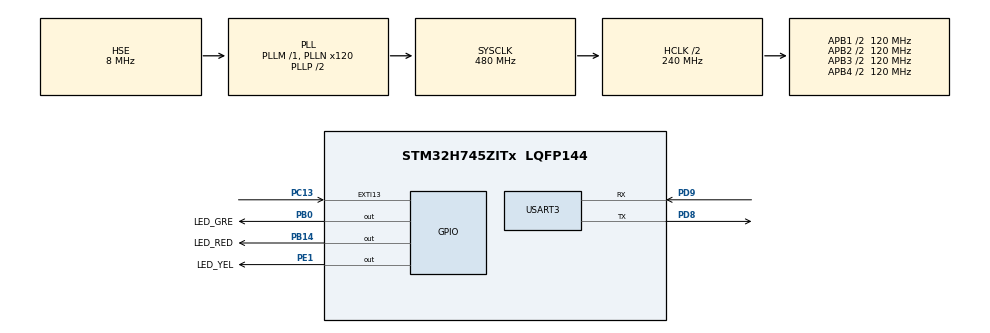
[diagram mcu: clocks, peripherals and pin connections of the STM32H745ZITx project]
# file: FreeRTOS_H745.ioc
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CORTEX_M7.CPU_DCache=Enabled
CORTEX_M7.CPU_ICache=Enabled
CORTEX_M7.default_mode_Activation=1
CortexM4.IPs=BDMA,CORTEX_M4\:I,DMA,FATFS_M4\:I,FREERTOS_M4\:I,GPIO,IWDG2\:I,MDMA,NVIC2\:I,OPENAMP_M4\:I,PDM2PCM_M4\:I,PWR,RCC,RESMGR_UTILITY,SYS_M4\:I,USB_DEVICE_M4\:I,USB_HOST_M4\:I,VREFBUF,WWDG2\:I,DEBUG
CortexM7.IPs=BDMA\:I,CORTEX_M7\:I,DMA\:I,FATFS_M7\:I,FREERTOS_M7\:I,GPIO\:I,IWDG1\:I,MDMA\:I,NVIC1\:I,OPENAMP_M7\:I,PDM2PCM_M7\:I,PWR\:I,RCC\:I,RESMGR_UTILITY\:I,SYS\:I,USB_DEVICE_M7\:I,USB_HOST_M7\:I,VREFBUF\:I,WWDG1\:I,MEMORYMAP\:I,TIM17\:I,DEBUG\:I,USART3\:I
CortexM7.Pins=PC13,PB0,PB14,PE1
Mcu.Family=STM32H7
Mcu.Name=STM32H745ZITx
Mcu.Package=LQFP144
NVIC1.EXTI15_10_IRQn=true\:7\:0\:true\:false\:true\:true\:true\:true
NVIC1.PriorityGroup=NVIC_PRIORITYGROUP_4
NVIC1.TIM17_IRQn=true\:5\:0\:true\:false\:true\:false\:true\:true
NVIC1.TimeBase=TIM17_IRQn
NVIC1.TimeBaseIP=TIM17
NVIC2.PriorityGroup=NVIC_PRIORITYGROUP_4
PA13\ (JTMS/SWDIO).Mode=Serial_Wire
PA13\ (JTMS/SWDIO).PinAttribute=CortexM7
PA13\ (JTMS/SWDIO).Signal=DEBUG_JTMS-SWDIO
PA14\ (JTCK/SWCLK).Mode=Serial_Wire
PA14\ (JTCK/SWCLK).PinAttribute=CortexM7
PA14\ (JTCK/SWCLK).Signal=DEBUG_JTCK-SWCLK
PB0.GPIO_Label=LED_GRE
PB0.PinAttribute=CortexM7
PB0.Signal=GPIO_Output
PB14.GPIO_Label=LED_RED
PB14.PinAttribute=CortexM7
PB14.Signal=GPIO_Output
PC13.GPIO_ModeDefaultEXTI=GPIO_MODE_IT_RISING
PC13.PinAttribute=CortexM7
PC13.Signal=GPXTI13
PD8.Mode=Asynchronous
PD8.PinAttribute=CortexM7
PD8.Signal=USART3_TX
PD9.Mode=Asynchronous
PD9.PinAttribute=CortexM7
PD9.Signal=USART3_RX
PE1.GPIO_Label=LED_YEL
PE1.PinAttribute=CortexM7
PE1.Signal=GPIO_Output
PH0-OSC_IN\ (PH0).Mode=HSE-External-Clock-Source
PH0-OSC_IN\ (PH0).PinAttribute=Free
PH0-OSC_IN\ (PH0).Signal=RCC_OSC_IN
ProjectManager.HeapSize=M4-0x200,M7-0x200
ProjectManager.StackSize=M4-0x400,M7-0x400
ProjectManager.TargetToolchain=STM32CubeIDE
RCC.ADCFreq_Value=16125000
RCC.APB1Freq_Value=120000000
RCC.APB2Freq_Value=120000000
RCC.APB3Freq_Value=120000000
RCC.APB4Freq_Value=120000000
RCC.CortexFreq_Value=480000000
RCC.D1PPRE=RCC_APB3_DIV2
RCC.D2PPRE1=RCC_APB1_DIV2
RCC.D2PPRE2=RCC_APB2_DIV2
RCC.D3PPRE=RCC_APB4_DIV2
RCC.DIVM1=1
RCC.DIVN1=120
RCC.HCLKFreq_Value=240000000
RCC.HPRE=RCC_HCLK_DIV2
RCC.HSE_VALUE=8000000
RCC.PLL2FRACN=0
RCC.PLL3FRACN=0
RCC.PLLFRACN=0
RCC.PLLSourceVirtual=RCC_PLLSOURCE_HSE
RCC.PWR_Regulator_Voltage_Scale=PWR_REGULATOR_VOLTAGE_SCALE0
RCC.SYSCLKFreq_VALUE=480000000
RCC.SYSCLKSource=RCC_SYSCLKSOURCE_PLLCLK
RCC.USBFreq_Value=480000000
SYS.userName=SYS_M7
USART3.VirtualMode-Asynchronous=VM_ASYNC
VP_MEMORYMAP_VS_MEMORYMAP.Mode=CurAppReg
VP_SYS_M4_VS_Systick.Mode=SysTick
VP_SYS_VS_tim17.Mode=TIM17
board=custom

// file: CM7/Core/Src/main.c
/* USER CODE BEGIN Header */
/**
  ******************************************************************************
  * @file           : main.c
  * @brief          : Main program body
  ******************************************************************************
  * @attention
  *
  * Copyright (c) 2025 STMicroelectronics.
  * All rights reserved.
  *
  * This software is licensed under terms that can be found in the LICENSE file
  * in the root directory of this software component.
  * If no LICENSE file comes with this software, it is provided AS-IS.
  *
  ******************************************************************************
  */
/* USER CODE END Header */
#include "main.h"

/* USER CODE BEGIN Includes */
#include "FreeRTOS_Tasks.h"
#include "FreeRTOS.h"
#include "task.h"
#include "semphr.h"

/* USER CODE END Includes */

/* USER CODE BEGIN PD */

/* DUAL_CORE_BOOT_SYNC_SEQUENCE: Define for dual core boot synchronization    */
/*                             demonstration code based on hardware semaphore */
/* This define is present in both CM7/CM4 projects                            */
/* To comment when developping/debugging on a single core                     */
#define DUAL_CORE_BOOT_SYNC_SEQUENCE

#if defined(DUAL_CORE_BOOT_SYNC_SEQUENCE)
#ifndef HSEM_ID_0
#define HSEM_ID_0 (0U) /* HW semaphore 0*/
#endif
#endif /* DUAL_CORE_BOOT_SYNC_SEQUENCE */

/* USER CODE END PD */

UART_HandleTypeDef huart3;

/* USER CODE BEGIN PV */
TaskHandle_t TaskLED_Green = NULL;
TaskHandle_t TaskLED_Yellow = NULL;
SemaphoreHandle_t xMyMutex;

extern volatile TaskHandle_t CurrentTask;

/* USER CODE END PV */

void SystemClock_Config(void);
static void MPU_Config(void);
static void MX_GPIO_Init(void);
static void MX_USART3_UART_Init(void);

/* USER CODE BEGIN 0 */

extern  void SEGGER_UART_init(uint32_t);

void Button_Handler_EXTI(void)
{
	BaseType_t xHigherPriorityTaskWoken = pdFALSE;

	traceISR_ENTER();
	SEGGER_SYSVIEW_Print("ISR Start");

	xTaskNotifyFromISR(CurrentTask,0,eNoAction,&xHigherPriorityTaskWoken);
	portYIELD_FROM_ISR(xHigherPriorityTaskWoken);
	traceISR_EXIT();

}

/* USER CODE END 0 */

int main(void)
{

/* USER CODE BEGIN Boot_Mode_Sequence_0 */
#if defined(DUAL_CORE_BOOT_SYNC_SEQUENCE)
  int32_t timeout;
#endif /* DUAL_CORE_BOOT_SYNC_SEQUENCE */
/* USER CODE END Boot_Mode_Sequence_0 */

  /* MPU Configuration--------------------------------------------------------*/
  MPU_Config();

  /* Enable the CPU Cache */

  /* Enable I-Cache---------------------------------------------------------*/
  SCB_EnableICache();

  /* Enable D-Cache---------------------------------------------------------*/
  SCB_EnableDCache();

/* USER CODE BEGIN Boot_Mode_Sequence_1 */
#if defined(DUAL_CORE_BOOT_SYNC_SEQUENCE)
  /* Wait until CPU2 boots and enters in stop mode or timeout*/
  timeout = 0xFFFF;
  while((__HAL_RCC_GET_FLAG(RCC_FLAG_D2CKRDY) != RESET) && (timeout-- > 0));
  if ( timeout < 0 )
  {
  Error_Handler();
  }
#endif /* DUAL_CORE_BOOT_SYNC_SEQUENCE */
/* USER CODE END Boot_Mode_Sequence_1 */
  /* MCU Configuration--------------------------------------------------------*/

  /* Reset of all peripherals, Initializes the Flash interface and the Systick. */
  HAL_Init();

  /* Configure the system clock */
  SystemClock_Config();
/* USER CODE BEGIN Boot_Mode_Sequence_2 */
#if defined(DUAL_CORE_BOOT_SYNC_SEQUENCE)
/* When system initialization is finished, Cortex-M7 will release Cortex-M4 by means of
HSEM notification */
/*HW semaphore Clock enable*/
__HAL_RCC_HSEM_CLK_ENABLE();
/*Take HSEM */
HAL_HSEM_FastTake(HSEM_ID_0);
/*Release HSEM in order to notify the CPU2(CM4)*/
HAL_HSEM_Release(HSEM_ID_0,0);
/* wait until CPU2 wakes up from stop mode */
timeout = 0xFFFF;
while((__HAL_RCC_GET_FLAG(RCC_FLAG_D2CKRDY) == RESET) && (timeout-- > 0));
if ( timeout < 0 )
{
Error_Handler();
}
#endif /* DUAL_CORE_BOOT_SYNC_SEQUENCE */
/* USER CODE END Boot_Mode_Sequence_2 */

  /* Initialize all configured peripherals */
  MX_GPIO_Init();
  MX_USART3_UART_Init();
  /* USER CODE BEGIN 2 */

  CoreDebug->DEMCR |= CoreDebug_DEMCR_TRCENA_Msk;

  DWT->LAR = 0xC5ACCE55;

  DWT->CYCCNT = 0;

  DWT->CTRL |= DWT_CTRL_CYCCNTENA_Msk;

  SEGGER_UART_init(200000);

  SEGGER_SYSVIEW_Conf();

//  SEGGER_SYSVIEW_Start();

  xMyMutex = xSemaphoreCreateMutex();

  if (xMyMutex == NULL) {
     	  configASSERT(NULL);
  }

  BaseType_t CheckState;

  CheckState = xTaskCreate(TaskLedGreen_Handle, "Green", 512, NULL, 4, &TaskLED_Green);

  configASSERT(CheckState);

  CheckState = xTaskCreate(TaskLedYellow_Handle, "Yellow", 512, NULL, 3, &TaskLED_Yellow);

  configASSERT(CheckState);

  CurrentTask = TaskLED_Green;

  vTaskStartScheduler();

  /* USER CODE END 2 */

  /* Infinite loop */
  while (1)
  {

  }
}

void SystemClock_Config(void)
{
  RCC_OscInitTypeDef RCC_OscInitStruct = {0};
  RCC_ClkInitTypeDef RCC_ClkInitStruct = {0};

  /** Supply configuration update enable
  */
  HAL_PWREx_ConfigSupply(PWR_LDO_SUPPLY);

  /** Configure the main internal regulator output voltage
  */
  __HAL_PWR_VOLTAGESCALING_CONFIG(PWR_REGULATOR_VOLTAGE_SCALE0);

  while(!__HAL_PWR_GET_FLAG(PWR_FLAG_VOSRDY)) {}

  /** Initializes the RCC Oscillators according to the specified parameters
  * in the RCC_OscInitTypeDef structure.
  */
  RCC_OscInitStruct.OscillatorType = RCC_OSCILLATORTYPE_HSE;
  RCC_OscInitStruct.HSEState = RCC_HSE_BYPASS;
  RCC_OscInitStruct.PLL.PLLState = RCC_PLL_ON;
  RCC_OscInitStruct.PLL.PLLSource = RCC_PLLSOURCE_HSE;
  RCC_OscInitStruct.PLL.PLLM = 1;
  RCC_OscInitStruct.PLL.PLLN = 120;
  RCC_OscInitStruct.PLL.PLLP = 2;
  RCC_OscInitStruct.PLL.PLLQ = 2;
  RCC_OscInitStruct.PLL.PLLR = 2;
  RCC_OscInitStruct.PLL.PLLRGE = RCC_PLL1VCIRANGE_3;
  RCC_OscInitStruct.PLL.PLLVCOSEL = RCC_PLL1VCOWIDE;
  RCC_OscInitStruct.PLL.PLLFRACN = 0;
  if (HAL_RCC_OscConfig(&RCC_OscInitStruct) != HAL_OK)
  {
    Error_Handler();
  }

  /** Initializes the CPU, AHB and APB buses clocks
  */
  RCC_ClkInitStruct.ClockType = RCC_CLOCKTYPE_HCLK|RCC_CLOCKTYPE_SYSCLK
                              |RCC_CLOCKTYPE_PCLK1|RCC_CLOCKTYPE_PCLK2
                              |RCC_CLOCKTYPE_D3PCLK1|RCC_CLOCKTYPE_D1PCLK1;
  RCC_ClkInitStruct.SYSCLKSource = RCC_SYSCLKSOURCE_PLLCLK;
  RCC_ClkInitStruct.SYSCLKDivider = RCC_SYSCLK_DIV1;
  RCC_ClkInitStruct.AHBCLKDivider = RCC_HCLK_DIV2;
  RCC_ClkInitStruct.APB3CLKDivider = RCC_APB3_DIV2;
  RCC_ClkInitStruct.APB1CLKDivider = RCC_APB1_DIV2;
  RCC_ClkInitStruct.APB2CLKDivider = RCC_APB2_DIV2;
  RCC_ClkInitStruct.APB4CLKDivider = RCC_APB4_DIV2;

  if (HAL_RCC_ClockConfig(&RCC_ClkInitStruct, FLASH_LATENCY_4) != HAL_OK)
  {
    Error_Handler();
  }
}

static void MX_USART3_UART_Init(void)
{

  huart3.Instance = USART3;
  huart3.Init.BaudRate = 115200;
  huart3.Init.WordLength = UART_WORDLENGTH_8B;
  huart3.Init.StopBits = UART_STOPBITS_1;
  huart3.Init.Parity = UART_PARITY_NONE;
  huart3.Init.Mode = UART_MODE_TX_RX;
  huart3.Init.HwFlowCtl = UART_HWCONTROL_NONE;
  huart3.Init.OverSampling = UART_OVERSAMPLING_16;
  huart3.Init.OneBitSampling = UART_ONE_BIT_SAMPLE_DISABLE;
  huart3.Init.ClockPrescaler = UART_PRESCALER_DIV1;
  huart3.AdvancedInit.AdvFeatureInit = UART_ADVFEATURE_NO_INIT;
  if (HAL_UART_Init(&huart3) != HAL_OK)
  {
    Error_Handler();
  }
  if (HAL_UARTEx_SetTxFifoThreshold(&huart3, UART_TXFIFO_THRESHOLD_1_8) != HAL_OK)
  {
    Error_Handler();
  }
  if (HAL_UARTEx_SetRxFifoThreshold(&huart3, UART_RXFIFO_THRESHOLD_1_8) != HAL_OK)
  {
    Error_Handler();
  }
  if (HAL_UARTEx_DisableFifoMode(&huart3) != HAL_OK)
  {
    Error_Handler();
  }

}

static void MX_GPIO_Init(void)
{
  GPIO_InitTypeDef GPIO_InitStruct = {0};

  /* GPIO Ports Clock Enable */
  __HAL_RCC_GPIOC_CLK_ENABLE();
  __HAL_RCC_GPIOB_CLK_ENABLE();
  __HAL_RCC_GPIOD_CLK_ENABLE();
  __HAL_RCC_GPIOA_CLK_ENABLE();
  __HAL_RCC_GPIOE_CLK_ENABLE();

  /*Configure GPIO pin Output Level */
  HAL_GPIO_WritePin(GPIOB, LED_GRE_Pin|LED_RED_Pin, GPIO_PIN_RESET);

  /*Configure GPIO pin Output Level */
  HAL_GPIO_WritePin(LED_YEL_GPIO_Port, LED_YEL_Pin, GPIO_PIN_RESET);

  /*Configure GPIO pin : PC13 */
  GPIO_InitStruct.Pin = GPIO_PIN_13;
  GPIO_InitStruct.Mode = GPIO_MODE_IT_RISING;
  GPIO_InitStruct.Pull = GPIO_NOPULL;
  HAL_GPIO_Init(GPIOC, &GPIO_InitStruct);

  /*Configure GPIO pins : LED_GRE_Pin LED_RED_Pin */
  GPIO_InitStruct.Pin = LED_GRE_Pin|LED_RED_Pin;
  GPIO_InitStruct.Mode = GPIO_MODE_OUTPUT_PP;
  GPIO_InitStruct.Pull = GPIO_NOPULL;
  GPIO_InitStruct.Speed = GPIO_SPEED_FREQ_LOW;
  HAL_GPIO_Init(GPIOB, &GPIO_InitStruct);

  /*Configure GPIO pin : LED_YEL_Pin */
  GPIO_InitStruct.Pin = LED_YEL_Pin;
  GPIO_InitStruct.Mode = GPIO_MODE_OUTPUT_PP;
  GPIO_InitStruct.Pull = GPIO_NOPULL;
  GPIO_InitStruct.Speed = GPIO_SPEED_FREQ_LOW;
  HAL_GPIO_Init(LED_YEL_GPIO_Port, &GPIO_InitStruct);

  /* EXTI interrupt init*/
  HAL_NVIC_SetPriority(EXTI15_10_IRQn, 7, 0);
  HAL_NVIC_EnableIRQ(EXTI15_10_IRQn);

}

 /* MPU Configuration */

void MPU_Config(void)
{
  MPU_Region_InitTypeDef MPU_InitStruct = {0};

  /* Disables the MPU */
  HAL_MPU_Disable();

  /** Initializes and configures the Region and the memory to be protected
  */
  MPU_InitStruct.Enable = MPU_REGION_ENABLE;
  MPU_InitStruct.Number = MPU_REGION_NUMBER0;
  MPU_InitStruct.BaseAddress = 0x0;
  MPU_InitStruct.Size = MPU_REGION_SIZE_4GB;
  MPU_InitStruct.SubRegionDisable = 0x87;
  MPU_InitStruct.TypeExtField = MPU_TEX_LEVEL0;
  MPU_InitStruct.AccessPermission = MPU_REGION_NO_ACCESS;
  MPU_InitStruct.DisableExec = MPU_INSTRUCTION_ACCESS_DISABLE;
  MPU_InitStruct.IsShareable = MPU_ACCESS_SHAREABLE;
  MPU_InitStruct.IsCacheable = MPU_ACCESS_NOT_CACHEABLE;
  MPU_InitStruct.IsBufferable = MPU_ACCESS_NOT_BUFFERABLE;

  HAL_MPU_ConfigRegion(&MPU_InitStruct);
  /* Enables the MPU */
  HAL_MPU_Enable(MPU_PRIVILEGED_DEFAULT);

}

void HAL_TIM_PeriodElapsedCallback(TIM_HandleTypeDef *htim)
{
  if (htim->Instance == TIM17)
  {
    HAL_IncTick();
  }
}

void Error_Handler(void)
{
  __disable_irq();
  while (1)
  {
  }
}
